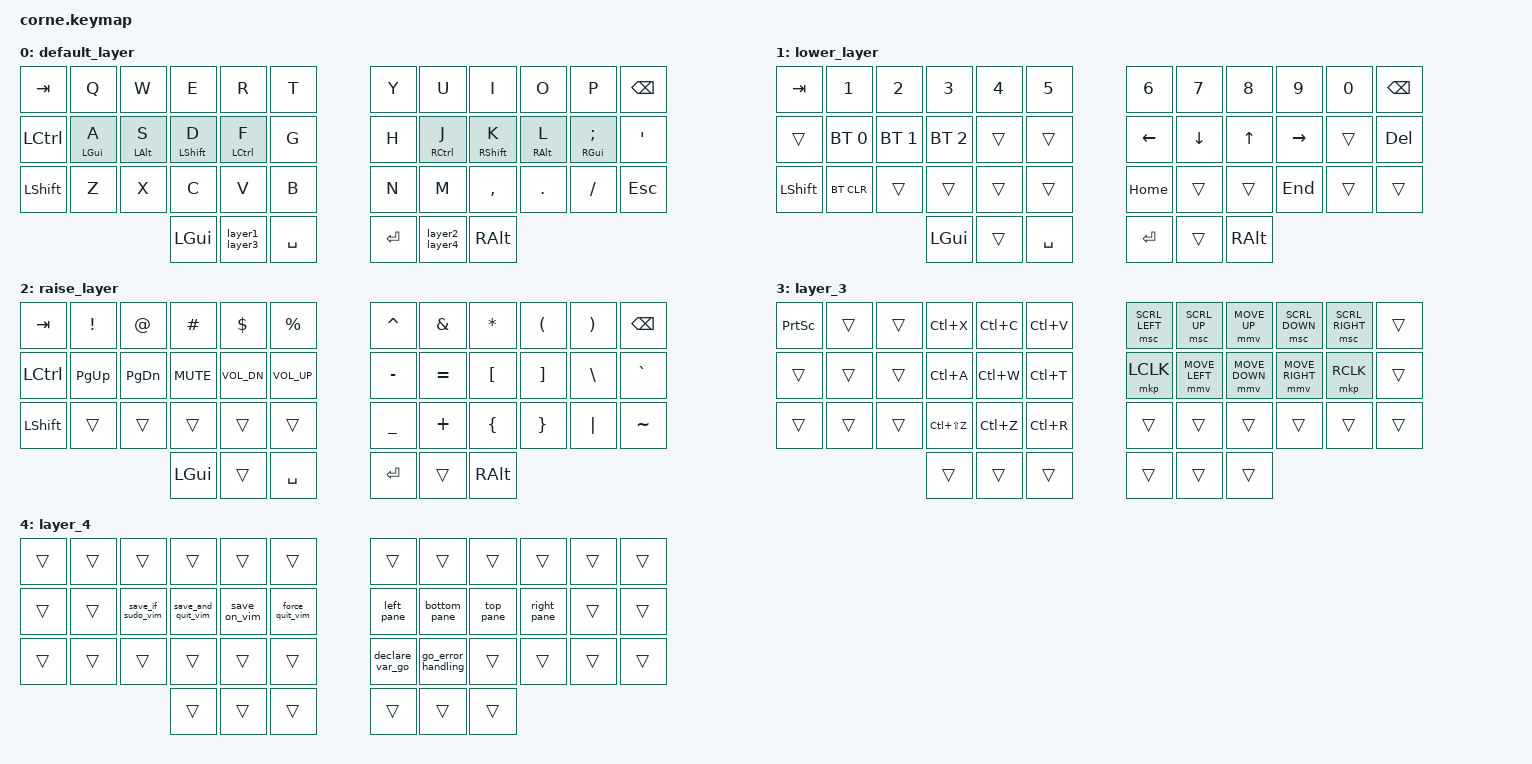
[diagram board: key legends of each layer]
/*
 * Copyright (c) 2020 The ZMK Contributors
 *
 * SPDX-License-Identifier: MIT
 */

#include <behaviors.dtsi>
#include <dt-bindings/zmk/bt.h>
#include <dt-bindings/zmk/keys.h>
#include <dt-bindings/zmk/pointing.h>

/ {
    combos {
        compatible = "zmk,combos";

        exclamation_sign {
            bindings = <&kp EXCLAMATION>;
            key-positions = <13 1>;
        };

        at_sign {
            bindings = <&kp AT_SIGN>;
            key-positions = <2 14>;
        };

        hash_sign {
            bindings = <&kp HASH>;
            key-positions = <15 3>;
        };

        dollar_sign {
            bindings = <&kp DOLLAR>;
            key-positions = <16 4>;
        };

        percent_sign {
            bindings = <&kp PERCENT>;
            key-positions = <17 5>;
        };

        and_sign {
            bindings = <&kp AMPERSAND>;
            key-positions = <6 18>;
        };

        asterisk_sign {
            bindings = <&kp ASTERISK>;
            key-positions = <7 19>;
        };

        open_prts {
            bindings = <&kp LEFT_PARENTHESIS>;
            key-positions = <8 20>;
        };

        close_prts {
            bindings = <&kp RIGHT_PARENTHESIS>;
            key-positions = <9 21>;
        };

        question_sign {
            bindings = <&kp QUESTION>;
            key-positions = <10 22>;
        };

        open_brace_sign {
            bindings = <&kp LEFT_BRACE>;
            key-positions = <18 30>;
        };

        close_brace_sign {
            bindings = <&kp RIGHT_BRACE>;
            key-positions = <19 31>;
        };

        open_brakets_sign {
            bindings = <&kp LEFT_BRACKET>;
            key-positions = <20 32>;
        };

        close_brakets_sign {
            bindings = <&kp RIGHT_BRACKET>;
            key-positions = <21 33>;
        };
    };

    macros {
        retangular_print: retangular_print {
            compatible = "zmk,behavior-macro";
            #binding-cells = <0>;
            bindings = <&kp LEFT_GUI &kp LCTRL &kp S>;
            label = "RETANGULAR_PRINT";
        };

        declare_var_go: declare_var_go {
            compatible = "zmk,behavior-macro";
            #binding-cells = <0>;
            bindings = <&kp COLON &kp EQUAL &kp SPACE>;
            label = "DECLARE_VAR_GO";
        };

        save_on_vim: save_on_vim {
            compatible = "zmk,behavior-macro";
            #binding-cells = <0>;
            bindings = <&kp ESC &kp COLON &kp W &kp ENTER>;
            label = "SAVE_ON_VIM";
        };

        save_and_quit_vim: save_and_quit_vim {
            compatible = "zmk,behavior-macro";
            #binding-cells = <0>;
            bindings = <&kp ESC &kp COLON &kp W &kp SPACE &kp EXCL &kp S &kp U &kp D &kp O &kp SPACE &kp T &kp E &kp E &kp SPACE &kp PRCNT &kp ENTER>;
            label = "SAVE_AND_QUIT_VIM";
        };

        force_quit_vim: force_quit_vim {
            compatible = "zmk,behavior-macro";
            #binding-cells = <0>;
            bindings = <&kp ESC &kp COLON &kp Q &kp EXCLAMATION &kp ENTER>;
            label = "FORCE_QUIT_VIM";
        };

        left_pane: left_pane {
            compatible = "zmk,behavior-macro";
            #binding-cells = <0>;
            bindings = <&kp LC(H)>;
            label = "LEFT_PANE";
        };

        right_pane: right_pane {
            compatible = "zmk,behavior-macro";
            #binding-cells = <0>;
            bindings = <&kp LC(L)>;
            label = "RIGHT_PANE";
        };

        bottom_pane: bottom_pane {
            compatible = "zmk,behavior-macro";
            #binding-cells = <0>;
            bindings = <&kp LC(J)>;
            label = "BOTTOM_PANE";
        };

        top_pane: top_pane {
            compatible = "zmk,behavior-macro";
            #binding-cells = <0>;
            bindings = <&kp LC(K)>;
            label = "TOP_PANE";
        };

        euro_sign: euro_sign {
            compatible = "zmk,behavior-macro";
            #binding-cells = <0>;
            bindings = <&kp RALT &kp NUMBER_4>;
            label = "EURO_SIGN";
        };

        save_if_sudo_vim: save_if_sudo_vim {
            compatible = "zmk,behavior-macro";
            #binding-cells = <0>;
            bindings = <&kp ESC &kp COLON &kp W &kp Q &kp ENTER>;
            label = "SAVE_IF_SUDO_VIM";
        };

        go_error_handling: go_error_handling {
            compatible = "zmk,behavior-macro";
            #binding-cells = <0>;
            bindings = <&kp I &kp F &kp SPACE &kp E &kp R &kp R &kp SPACE &kp EXCL &kp EQUAL &kp SPACE &kp N &kp I &kp L &kp SPACE &kp RBKT &kp RET &kp R &kp E &kp T &kp U &kp R &kp N &kp SPACE &kp N &kp I &kp L &kp COMMA &kp SPACE &kp E &kp R &kp R &kp RET &kp RBRC>;
            label = "GO_ERROR_HANDLING";
        };
    };

    behaviors {
        layer1_layer3: layer1_layer3 {
            compatible = "zmk,behavior-tap-dance";
            label = "LAYER1_LAYER3";
            #binding-cells = <0>;
            bindings = <&mo 1>, <&mo 3>;
        };

        layer2_layer4: layer2_layer4 {
            compatible = "zmk,behavior-tap-dance";
            label = "LAYER2_LAYER4";
            #binding-cells = <0>;
            bindings = <&mo 2>, <&mo 4>;
        };

        hml_behavior: hml_behavior {
            compatible = "zmk,behavior-hold-tap";
            label = "hml_behavior";
            bindings = <&kp>, <&kp>;

            #binding-cells = <2>;
            tapping-term-ms = <200>;
            flavor = "tap-preferred";
            hold-trigger-key-positions = <16 15 14 13>;
        };

        hmr_behavior: hmr_behavior {
            compatible = "zmk,behavior-hold-tap";
            label = "hmr_behavior";
            bindings = <&kp>, <&kp>;

            #binding-cells = <2>;
            tapping-term-ms = <200>;
            flavor = "tap-preferred";
            hold-trigger-key-positions = <19 20 21 22>;
        };
    };

    keymap {
        compatible = "zmk,keymap";

        default_layer {
            // -----------------------------------------------------------------------------------------
            // |  TAB |  Q  |  W  |  E  |  R  |  T  |   |  Y  |  U   |  I  |  O  |  P  | BSPC |
            // | CTRL |  A  |  S  |  D  |  F  |  G  |   |  H  |  J   |  K  |  L  |  ;  |  '   |
            // | SHFT |  Z  |  X  |  C  |  V  |  B  |   |  N  |  M   |  ,  |  .  |  /  | ESC  |
            //                    | GUI | LWR | SPC |   | ENT | RSE  | ALT |

            bindings = <
&kp TAB    &kp Q                     &kp W                     &kp E                       &kp R                         &kp T        &kp Y    &kp U                  &kp I                  &kp O                 &kp P                         &kp BSPC
&kp LCTRL  &hml_behavior LEFT_GUI A  &hml_behavior LEFT_ALT S  &hml_behavior LEFT_SHIFT D  &hml_behavior LEFT_CONTROL F  &kp G        &kp H    &hmr_behavior RCTRL J  &hmr_behavior RSHFT K  &hmr_behavior RALT L  &hmr_behavior RIGHT_GUI SEMI  &kp SQT
&kp LSHFT  &kp Z                     &kp X                     &kp C                       &kp V                         &kp B        &kp N    &kp M                  &kp COMMA              &kp DOT               &kp FSLH                      &kp ESC
                                                               &kp LGUI                    &layer1_layer3                &kp SPACE    &kp RET  &layer2_layer4         &kp RALT
            >;
        };

        lower_layer {
            // -----------------------------------------------------------------------------------------
            // |  TAB |  1  |  2  |  3  |  4  |  5  |   |  6  |  7  |  8  |  9  |  0  | BSPC |
            // | BTCLR| BT1 | BT2 | BT3 | BT4 | BT5 |   | LFT | DWN |  UP | RGT |     |      |
            // | SHFT |     |     |     |     |     |   |     |     |     |     |     |      |
            //                    | GUI |     | SPC |   | ENT |     | ALT |

            bindings = <
&kp TAB    &kp N1        &kp N2        &kp N3        &kp N4  &kp N5       &kp N6    &kp N7    &kp N8    &kp N9     &kp N0  &kp BSPC
&trans     &bt BT_SEL 0  &bt BT_SEL 1  &bt BT_SEL 2  &trans  &trans       &kp LEFT  &kp DOWN  &kp UP    &kp RIGHT  &trans  &kp DEL
&kp LSHFT  &bt BT_CLR    &trans        &trans        &trans  &trans       &kp HOME  &trans    &trans    &kp END    &trans  &trans
                                       &kp LGUI      &trans  &kp SPACE    &kp RET   &trans    &kp RALT
            >;
        };

        raise_layer {
            // -----------------------------------------------------------------------------------------
            // |  TAB |  !  |  @  |  #  |  $  |  %  |   |  ^  |  &  |  *  |  (  |  )  | BSPC |
            // | CTRL |     |     |     |     |     |   |  -  |  =  |  [  |  ]  |  \  |  `   |
            // | SHFT |     |     |     |     |     |   |  _  |  +  |  {  |  }  | "|" |  ~   |
            //                    | GUI |     | SPC |   | ENT |     | ALT |

            bindings = <
&kp TAB    &kp EXCL   &kp AT         &kp HASH    &kp DLLR      &kp PRCNT          &kp CARET  &kp AMPS   &kp ASTRK  &kp LPAR  &kp RPAR  &kp BSPC
&kp LCTRL  &kp PG_UP  &kp PAGE_DOWN  &kp K_MUTE  &kp C_VOL_DN  &kp C_VOLUME_UP    &kp MINUS  &kp EQUAL  &kp LBKT   &kp RBKT  &kp BSLH  &kp GRAVE
&kp LSHFT  &trans     &trans         &trans      &trans        &trans             &kp UNDER  &kp PLUS   &kp LBRC   &kp RBRC  &kp PIPE  &kp TILDE
                                     &kp LGUI    &trans        &kp SPACE          &kp RET    &trans     &kp RALT
            >;
        };

        layer_3 {
            bindings = <
&kp PRINTSCREEN  &trans  &trans  &kp LC(X)      &kp LC(C)  &kp LC(V)    &msc SCRL_LEFT  &msc SCRL_UP    &mmv MOVE_UP    &msc SCRL_DOWN   &msc SCRL_RIGHT  &trans
&trans           &trans  &trans  &kp LC(A)      &kp LC(W)  &kp LC(T)    &mkp LCLK       &mmv MOVE_LEFT  &mmv MOVE_DOWN  &mmv MOVE_RIGHT  &mkp RCLK        &trans
&trans           &trans  &trans  &kp LC(LS(Z))  &kp LC(Z)  &kp LC(R)    &trans          &trans          &trans          &trans           &trans           &trans
                                 &trans         &trans     &trans       &trans          &trans          &trans
            >;
        };

        layer_4 {
            bindings = <
&trans  &trans  &trans             &trans              &trans        &trans             &trans           &trans              &trans     &trans       &trans  &trans
&trans  &trans  &save_if_sudo_vim  &save_and_quit_vim  &save_on_vim  &force_quit_vim    &left_pane       &bottom_pane        &top_pane  &right_pane  &trans  &trans
&trans  &trans  &trans             &trans              &trans        &trans             &declare_var_go  &go_error_handling  &trans     &trans       &trans  &trans
                                   &trans              &trans        &trans             &trans           &trans              &trans
            >;
        };
    };
};
